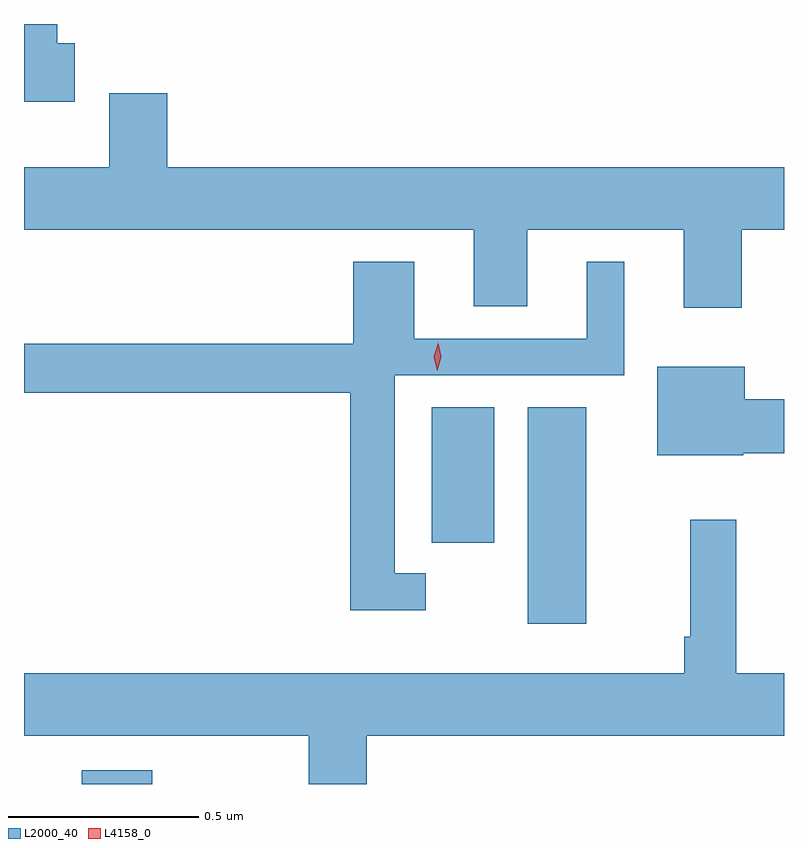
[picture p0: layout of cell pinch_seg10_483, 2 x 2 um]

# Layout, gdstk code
import gdstk
lib = gdstk.Library(unit=1e-6, precision=1e-09)
def R(c, l, rs):  # rectangles x0, y0, x1, y1
    for r in rs: c.add(gdstk.rectangle(r[:2], r[2:], *l))
def P(c, l, *ps):  # polygons
    for p in ps: c.add(gdstk.Polygon(p, *l))
L2000_40 = (2000, 40)
L4158_0 = (4158, 0)

pinch_seg10_483 = lib.new_cell('pinch_seg10_483')
R(pinch_seg10_483, L2000_40, [(339.569,1300.189,339.754,1300.225), (340.742,1300.611,340.897,1301.18), (340.49,1300.824,340.654,1301.18)])
P(pinch_seg10_483, L2000_40, [(339.55,1302.138),(339.505,1302.138),(339.505,1302.189),(339.417,1302.189),(339.417,1301.984),(339.55,1301.984)],
  [(341.306,1301.648),(341.417,1301.648),(341.417,1301.812),(339.794,1301.812),(339.794,1302.007),(339.641,1302.007),(339.641,1301.812),(339.417,1301.812),(339.417,1301.648),(340.601,1301.648),(340.601,1301.446),(340.741,1301.446),(340.741,1301.648),(341.153,1301.648),(341.153,1301.442),(341.306,1301.442)],
  [(340.474,1300.743),(340.392,1300.743),(340.392,1301.265),(340.996,1301.265),(340.996,1301.563),(340.898,1301.563),(340.898,1301.361),(340.444,1301.361),(340.444,1301.563),(340.283,1301.563),(340.283,1301.347),(339.417,1301.347),(339.417,1301.218),(340.276,1301.218),(340.276,1300.646),(340.474,1300.646)],
  [(341.31,1301.06),(341.417,1301.06),(341.417,1301.202),(341.314,1301.202),(341.314,1301.287),(341.084,1301.287),(341.084,1301.054),(341.31,1301.054)],
  [(340.319,1300.316),(341.417,1300.316),(341.417,1300.48),(341.291,1300.48),(341.291,1300.885),(341.17,1300.885),(341.17,1300.576),(341.155,1300.576),(341.155,1300.48),(339.417,1300.48),(339.417,1300.316),(340.166,1300.316),(340.166,1300.189),(340.319,1300.189)])
P(pinch_seg10_483, L4158_0, [(340.504,1301.277),(340.504,1301.277),(340.495,1301.314),(340.507,1301.349),(340.507,1301.35),(340.507,1301.349),(340.515,1301.313),(340.504,1301.277)])

lib.write_gds('pinch_seg10_483.gds')
